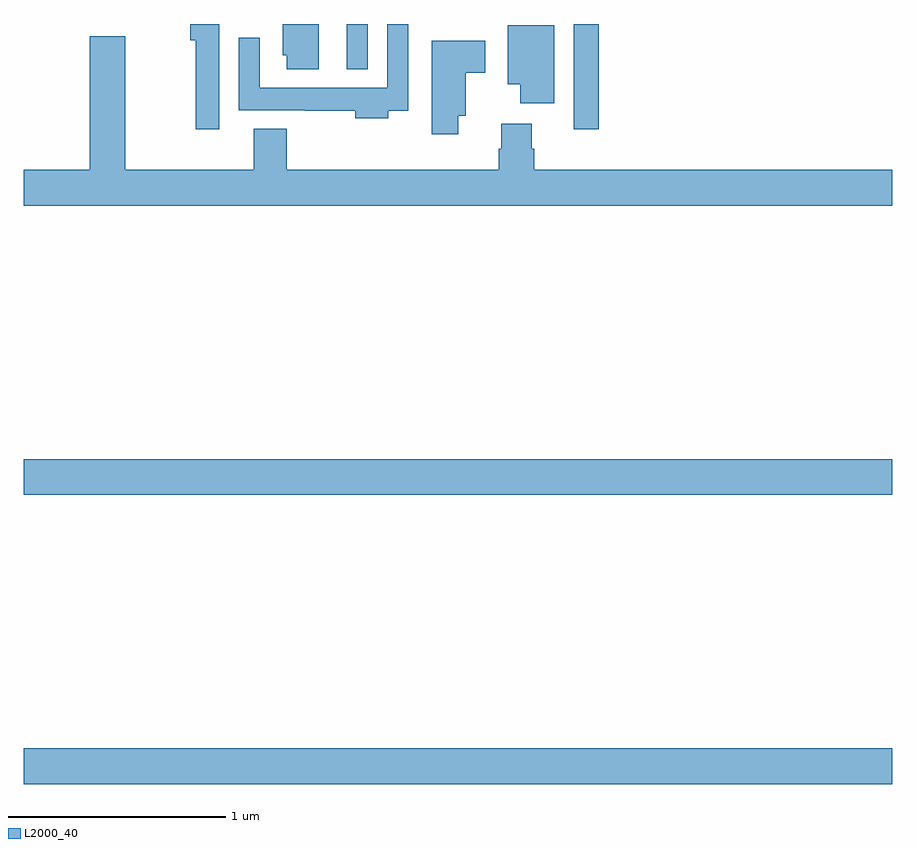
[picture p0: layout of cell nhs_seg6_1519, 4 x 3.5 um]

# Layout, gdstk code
import gdstk
lib = gdstk.Library(unit=1e-6, precision=1e-09)
def R(c, l, rs):  # rectangles x0, y0, x1, y1
    for r in rs: c.add(gdstk.rectangle(r[:2], r[2:], *l))
def P(c, l, *ps):  # polygons
    for p in ps: c.add(gdstk.Polygon(p, *l))
L2000_40 = (2000, 40)

nhs_seg6_1519 = lib.new_cell('nhs_seg6_1519')
R(nhs_seg6_1519, L2000_40, [(203,950,207,950.164), (203,951.332,207,951.496), (205.533,953.016,205.649,953.5), (204.488,953.291,204.585,953.5)])
P(nhs_seg6_1519, L2000_40, [(204.358,953.5),(204.194,953.5),(204.194,953.355),(204.212,953.355),(204.212,953.292),(204.358,953.292)],
  [(203.901,953.5),(203.768,953.5),(203.768,953.426),(203.793,953.426),(203.793,953.016),(203.901,953.016)],
  [(204.679,953.1),(204.771,953.1),(204.771,953.5),(204.675,953.5),(204.675,953.206),(204.087,953.206),(204.087,953.437),(203.991,953.437),(203.991,953.102),(204.295,953.102),(204.295,953.1),(204.527,953.1),(204.527,953.066),(204.679,953.066)],
  [(205.444,953.494),(205.229,953.494),(205.229,953.222),(205.286,953.222),(205.286,953.136),(205.444,953.136)],
  [(207,952.828),(205.352,952.828),(205.352,952.926),(205.339,952.926),(205.339,953.041),(205.199,953.041),(205.199,952.926),(205.187,952.926),(205.187,952.828),(204.212,952.828),(204.212,953.017),(204.059,953.017),(204.059,952.828),(203.467,952.828),(203.467,953.443),(203.303,953.443),(203.303,952.828),(203,952.828),(203,952.664),(207,952.664)],
  [(205,953.078),(205.036,953.078),(205.036,953.275),(205.126,953.275),(205.126,953.422),(204.878,953.422),(204.878,952.992),(205,952.992)])

lib.write_gds('nhs_seg6_1519.gds')
